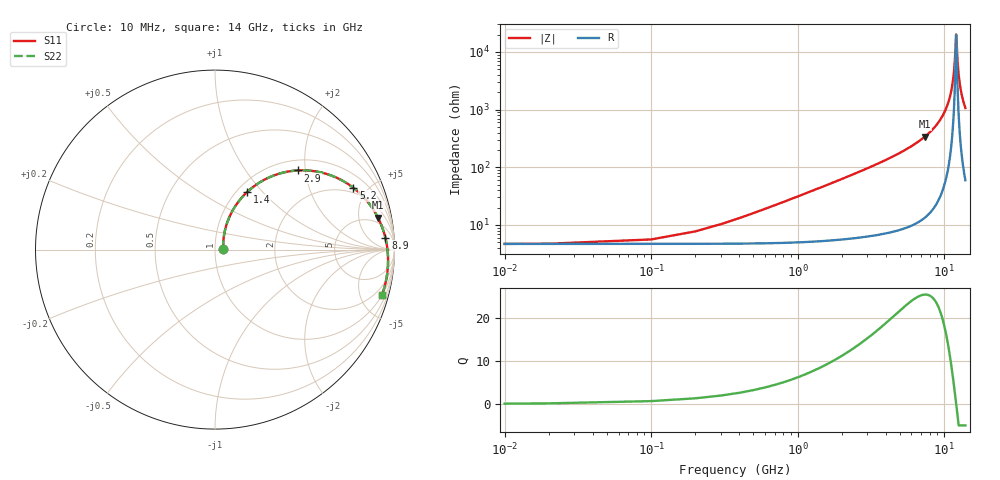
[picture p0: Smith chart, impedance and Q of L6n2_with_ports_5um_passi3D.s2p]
#  GHZ S DB R 50.0
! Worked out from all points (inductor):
!   142 points, 10 MHz to 14 GHz, reference 50 ohm
!   read as one part in series: L = 4.86 nH near 500 MHz
!   highest Q = 25.4 at 7.4 GHz (marker M1), where L = 7.29 nH
!   self-resonance near 12.1 GHz
!   S11 on the Smith chart (normalised r, x): 10 MHz: 1.09, +0.01; 1.4 GHz: 1.11, +0.83; 2.9 GHz: 1.22, +1.82; 5.2 GHz: 1.68, +4.02; 8.9 GHz: 14, +19; 14 GHz: 1.02, -7.32
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0.01  -26.98 3.3  -0.40 -0.2  -0.40 -0.2  -26.98 3.3
0.6  -15.49 65.8  -0.58 -10.5  -0.58 -10.5  -15.49 65.8
1  -11.33 64.8  -0.83 -17.1  -0.83 -17.1  -11.33 64.8
1.4  -8.70 60.8  -1.17 -23.3  -1.17 -23.3  -8.71 60.8
2.4  -4.99 49.2  -2.33 -37.1  -2.33 -37.1  -4.99 49.2
2.9  -3.90 43.7  -3.03 -43.0  -3.03 -43.0  -3.90 43.7
4.7  -1.79 27.7  -5.91 -59.9  -5.91 -59.9  -1.79 27.7
5.2  -1.47 24.1  -6.79 -63.6  -6.79 -63.6  -1.47 24.1
7.1  -0.74 12.6  -10.51 -75.2  -10.51 -75.2  -0.74 12.6
7.4  -0.67 11.1  -11.18 -76.8  -11.18 -76.8  -0.67 11.1
8.9  -0.43 4.0  -15.09 -83.6  -15.09 -83.6  -0.43 4.0
9.4  -0.38 1.9  -16.72 -85.5  -16.72 -85.5  -0.38 1.8
10.9  -0.29 -4.2  -24.13 -89.2  -24.13 -89.2  -0.29 -4.2
11.4  -0.28 -6.0  -28.82 -88.1  -28.82 -88.1  -0.28 -6.1
11.7  -0.28 -7.2  -33.46 -83.8  -33.46 -83.8  -0.28 -7.2
11.9  -0.28 -7.9  -38.65 -73.6  -38.65 -73.6  -0.28 -7.9
12.1  -0.27 -8.6  -46.38 -17.4  -46.38 -17.4  -0.28 -8.6
12.2  -0.27 -9.0  -44.01 32.6  -44.01 32.6  -0.28 -9.0
12.4  -0.28 -9.7  -36.66 61.8  -36.66 61.8  -0.28 -9.7
12.7  -0.28 -10.8  -30.82 70.0  -30.82 70.0  -0.28 -10.8
13.2  -0.29 -12.5  -25.64 72.5  -25.64 72.5  -0.29 -12.5
14  -0.32 -15.3  -21.01 71.8  -21.01 71.8  -0.32 -15.3
